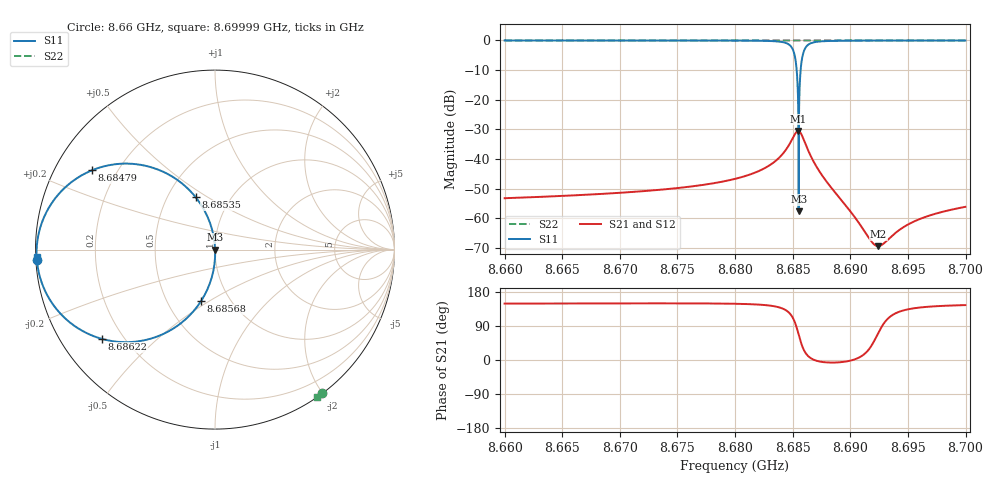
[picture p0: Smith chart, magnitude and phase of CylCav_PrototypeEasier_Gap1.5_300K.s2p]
! TOUCHSTONE file generated by CST MICROWAVE STUDIO
! Date and time: Wed Mar  5 01:24:03 2025
! Project name: CylCav_PrototypeEasier_Gap1.5_300K.cst
! Parameters = {Cond_Cu=5.8e+07; d=200; gap=1.5; lhot1=0.9; lhot2=-3; lprobe=7; r=12.75; rblend=2; rblend2=1.5; rin=0.635; rout=2.05; xThick=6.25; yThick=2; zThick=7}
! Header version: 2024
! Port assignment regex: !\s*Touchstone port\s*([0-9]+)\s*=\s*(CST MWS port|CST DES external port|CST DES block port)\s*(.+)\s* \(\"(.*)\"\)(\s*mode\s*([0-9]+))?.*
! Touchstone port assignment:
! Touchstone port 1 = CST MWS port 1 ("")
! Touchstone port 2 = CST MWS port 2 ("")
# GHz S MA R 50
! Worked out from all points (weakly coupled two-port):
!   4000 points, 8.66 GHz to 8.69999 GHz, reference 50 ohm
!   highest |S21| = -30.55 dB at 8.68548 GHz (marker M1); lowest = -69.4 dB at 8.69242 GHz (marker M2)
!   lowest |S11| = -57.7 dB at 8.68552 GHz (marker M3), VSWR 1.00, Z = 50.1 - j0.111 ohm
!   |S11| at or under -10 dB: 8.685348 GHz to 8.685692 GHz (344.1 kHz wide, 0.00396 % of centre)
!   |S22| runs from 0.0 to 0.0 dB; largest |S21 - S12| = 1.6e-13
!   S11 on the Smith chart (normalised r, x): 8.66 GHz: 0.00, -0.03; 8.68479 GHz: 0.11, +0.29; 8.68535 GHz: 0.69, +0.45; 8.68568 GHz: 0.73, -0.46; 8.68622 GHz: 0.12, -0.34; 8.69999 GHz: 0.00, -0.02
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8.66  0.9952 -176.6  0.002172 148.9  0.002172 148.9  0.9963 -53.2
8.66667  0.995 -177.5  0.002462 149.3  0.002462 149.3  0.9963 -53.6
8.67333  0.9946 -179.0  0.002997 149.5  0.002997 149.5  0.9963 -53.9
8.68  0.9913 177.5  0.004606 148.4  0.004606 148.4  0.9963 -54.2
8.68365  0.9605 167.1  0.009727 140.3  0.009727 140.3  0.9962 -54.4
8.68435  0.9124 158.7  0.01372 132.5  0.01372 132.5  0.9962 -54.5
8.68479  0.8151 147.2  0.01869 121.4  0.01869 121.4  0.996 -54.5
8.68517  0.5609 126.4  0.02564 101.1  0.02564 101.1  0.9957 -54.5
8.68528  0.4212 117.1  0.02772 92.0  0.02772 92.0  0.9956 -54.5
8.68535  0.3123 110.3  0.02878 85.3  0.02878 85.3  0.9955 -54.5
8.68548  0.07624 96.0  0.0297 71.6  0.0297 71.6  0.9954 -54.5
8.68552  0.001303 -58.0  0.02962 67.2  0.02962 67.2  0.9954 -54.5
8.68568  0.2969 -105.1  0.02766 50.1  0.02766 50.1  0.9955 -54.5
8.68576  0.4219 -112.9  0.02595 42.4  0.02595 42.4  0.9956 -54.5
8.68585  0.5382 -120.6  0.02379 34.9  0.02379 34.9  0.9957 -54.5
8.68622  0.8017 -141.6  0.01587 14.5  0.01587 14.5  0.996 -54.5
8.68666  0.9066 -153.6  0.01031 3.2  0.01031 3.2  0.9962 -54.5
8.68854  0.9807 -168.4  0.002936 -6.8  0.002936 -6.8  0.9963 -54.7
8.69242  0.9922 -174.3  0.0003372 70.9  0.0003372 70.9  0.9963 -54.9
8.69333  0.9928 -174.9  0.0004458 111.0  0.0004458 111.0  0.9963 -54.9
8.69587  0.9937 -176.1  0.00094 137.9  0.00094 137.9  0.9963 -55.0
8.69999  0.9942 -177.6  0.001555 144.9  0.001555 144.9  0.9963 -55.2
